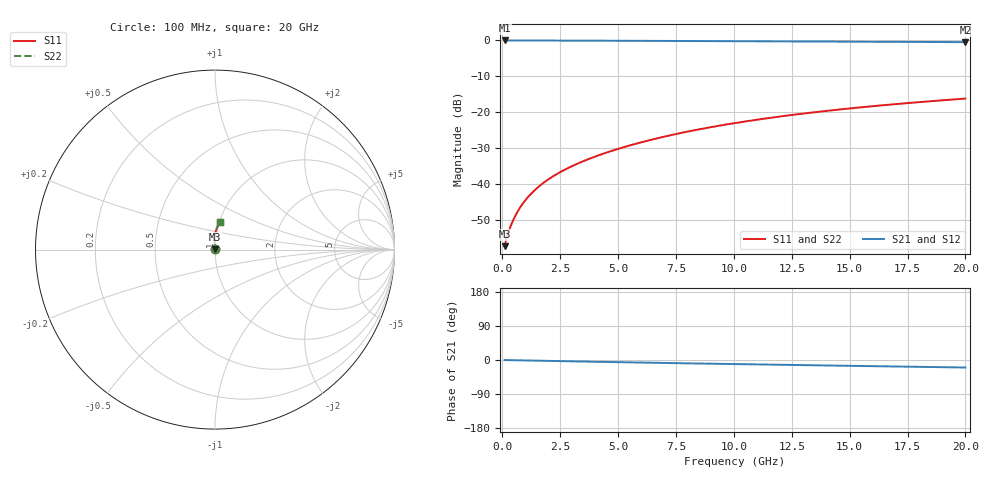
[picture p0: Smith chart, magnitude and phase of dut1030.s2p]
! Touchstone file exported from HFSS 2024.1.0
!  File:  C:/UserFiles/LocalFiles/RDL_TSV_Batchsim/temp_RDL_top_1030_1780043566.aedt
!  Generated:  04:35:32 PM May 29, 2026
!  Design:  RDL_top
!  Project:  temp_RDL_top_1030_1780043566
!  Setup:  Setup1
!  Solution:  Sweep
! Variables:
!  dtsv = 10.80580581um
!  hbump = 3um
!  htsv = 66.19um
!  ldown = 100um
!  lrdl = 315.06um
!  p = 40
!  p1 = 40.58um
!  rhole = 1um
!  t = 450um
!  tdown = 3.915915916um
!  trdl = 4.68um
!  wdown = 15.38538539um
!  wrdl = 25.14um
# GHz S MA R 50.000000
! Terminal data exported
! Port[1] = Box2_T1
! Port[2] = Box2_T2
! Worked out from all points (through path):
!   200 points, 100 MHz to 20 GHz, reference 50 ohm
!   highest |S21| = -0.01 dB at 100 MHz (marker M1); lowest = -0.5 dB at 20 GHz (marker M2)
!   group delay of S21, straight-line fit = 2.71 ps
!   lowest |S11| = -57.4 dB at 100 MHz (marker M3), VSWR 1.00, Z = 50.1 + j0.0709 ohm
!   |S11| at or under -10 dB: start of sweep to end of sweep
!   |S22| runs from -57.4 to -16.2 dB; largest |S21 - S12| = 2.7e-15
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0.1  0.001347 31.7  0.9988 -0.1  0.9988 -0.1  0.001347 31.7
! Gamma 0 0 0 0
! Port Impedance 50 0 50 0
0.2  0.001807 46.4  0.9987 -0.3  0.9987 -0.3  0.001807 46.4
0.3  0.002276 55.1  0.9986 -0.4  0.9986 -0.4  0.002276 55.1
0.5  0.003255 65.7  0.9984 -0.6  0.9984 -0.6  0.003255 65.7
0.6  0.003769 69.2  0.9983 -0.7  0.9983 -0.7  0.003769 69.2
0.8  0.004828 74.2  0.9982 -1.0  0.9982 -1.0  0.004828 74.2
1  0.005916 77.5  0.998 -1.2  0.998 -1.2  0.005916 77.5
1.2  0.007024 80.0  0.9978 -1.4  0.9978 -1.4  0.007024 80.0
1.4  0.008146 81.8  0.9975 -1.7  0.9975 -1.7  0.008146 81.8
1.7  0.009851 83.9  0.9971 -2.0  0.9971 -2.0  0.009851 83.9
2.2  0.01275 86.4  0.9963 -2.6  0.9963 -2.6  0.01275 86.5
2.8  0.01633 88.6  0.995 -3.3  0.995 -3.3  0.01633 88.6
3.5  0.02067 90.3  0.9933 -4.1  0.9933 -4.1  0.02067 90.3
4.2  0.02522 91.6  0.9913 -4.9  0.9913 -4.9  0.02522 91.6
5  0.03067 92.5  0.9889 -5.7  0.9889 -5.7  0.03068 92.6
6.8  0.04394 93.3  0.9832 -7.6  0.9832 -7.6  0.04394 93.3
8.4  0.05664 92.8  0.9781 -9.2  0.9781 -9.2  0.05664 92.8
10.1  0.07073 91.5  0.9729 -10.8  0.9729 -10.8  0.07074 91.5
11.7  0.08429 89.9  0.9683 -12.3  0.9683 -12.3  0.08431 89.9
13.4  0.09882 88.0  0.9636 -13.9  0.9636 -13.9  0.09884 88.0
16.7  0.1269 84.1  0.9552 -16.9  0.9552 -16.9  0.1269 84.1
20  0.1542 80.2  0.9471 -19.8  0.9471 -19.8  0.1543 80.2
